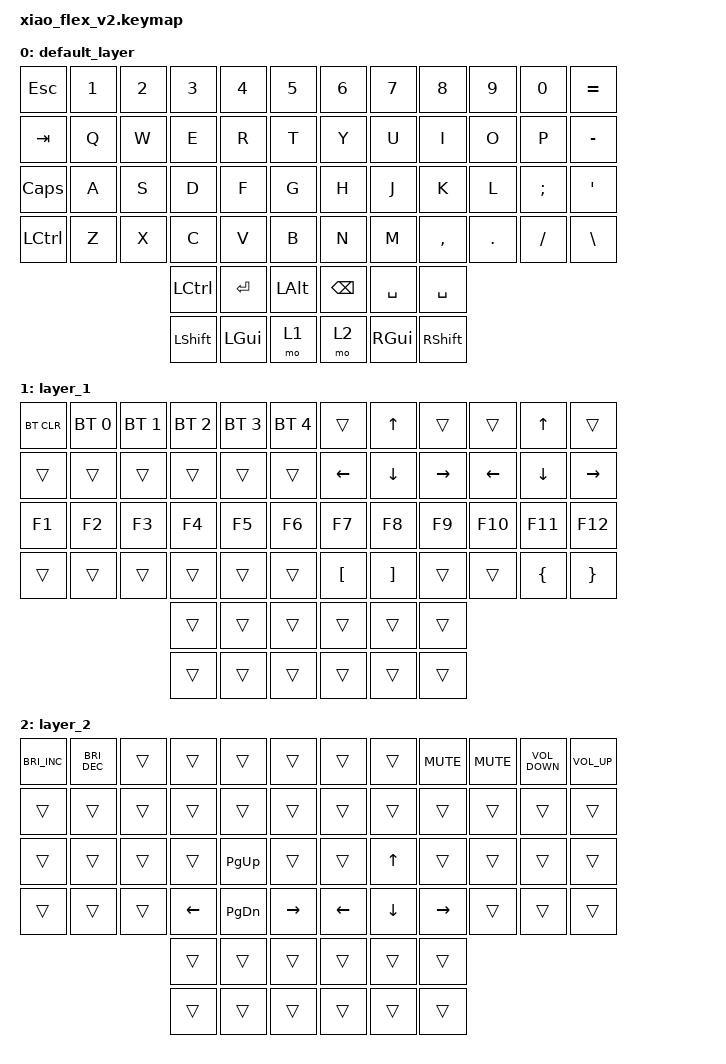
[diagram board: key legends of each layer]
/*
 * Copyright (c) 2020 The ZMK Contributors
 *
 * SPDX-License-Identifier: MIT
 */

#include <behaviors.dtsi>
#include <dt-bindings/zmk/bt.h>
#include <dt-bindings/zmk/keys.h>

/ {
    keymap {
        compatible = "zmk,keymap";

        default_layer {
            bindings = <
&kp ESC       &kp N1  &kp N2  &kp N3      &kp N4     &kp N5      &kp N6         &kp N7     &kp N8      &kp N9   &kp N0    &kp EQUAL
&kp TAB       &kp Q   &kp W   &kp E       &kp R      &kp T       &kp Y          &kp U      &kp I       &kp O    &kp P     &kp MINUS
&kp CAPSLOCK  &kp A   &kp S   &kp D       &kp F      &kp G       &kp H          &kp J      &kp K       &kp L    &kp SEMI  &kp SQT
&kp LCTRL     &kp Z   &kp X   &kp C       &kp V      &kp B       &kp N          &kp M      &kp COMMA   &kp DOT  &kp FSLH  &kp BSLH
                              &kp LCTRL   &kp ENTER  &kp LALT    &kp BACKSPACE  &kp SPACE  &kp SPACE
                              &kp LSHIFT  &kp LGUI   &mo 1       &mo 2          &kp RGUI   &kp RSHIFT
            >;
        };

        layer_1 {
            bindings = <
&bt BT_CLR  &bt BT_SEL 0  &bt BT_SEL 1  &bt BT_SEL 2  &bt BT_SEL 3  &bt BT_SEL 4    &trans          &kp UP_ARROW    &trans     &trans    &kp UP          &trans
&trans      &trans        &trans        &trans        &trans        &trans          &kp LEFT_ARROW  &kp DOWN_ARROW  &kp RIGHT  &kp LEFT  &kp DOWN        &kp RIGHT
&kp F1      &kp F2        &kp F3        &kp F4        &kp F5        &kp F6          &kp F7          &kp F8          &kp F9     &kp F10   &kp F11         &kp F12
&trans      &trans        &trans        &trans        &trans        &trans          &kp LBKT        &kp RBKT        &trans     &trans    &kp LEFT_BRACE  &kp RIGHT_BRACE
                                        &trans        &trans        &trans          &trans          &trans          &trans
                                        &trans        &trans        &trans          &trans          &trans          &trans
            >;
        };

        layer_2 {
            bindings = <
&kp C_BRIGHTNESS_INC  &kp C_BRIGHTNESS_DEC  &trans  &trans    &trans         &trans       &trans          &trans          &kp K_MUTE  &kp C_MUTE  &kp K_VOLUME_DOWN  &kp K_VOLUME_UP
&trans                &trans                &trans  &trans    &trans         &trans       &trans          &trans          &trans      &trans      &trans             &trans
&trans                &trans                &trans  &trans    &kp PAGE_UP    &trans       &trans          &kp UP_ARROW    &trans      &trans      &trans             &trans
&trans                &trans                &trans  &kp LEFT  &kp PAGE_DOWN  &kp RIGHT    &kp LEFT_ARROW  &kp DOWN_ARROW  &kp RIGHT   &trans      &trans             &trans
                                                    &trans    &trans         &trans       &trans          &trans          &trans
                                                    &trans    &trans         &trans       &trans          &trans          &trans
            >;
        };
    };
};
